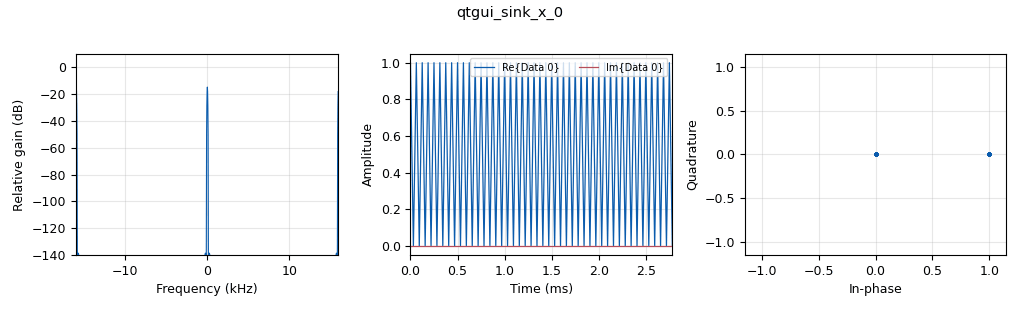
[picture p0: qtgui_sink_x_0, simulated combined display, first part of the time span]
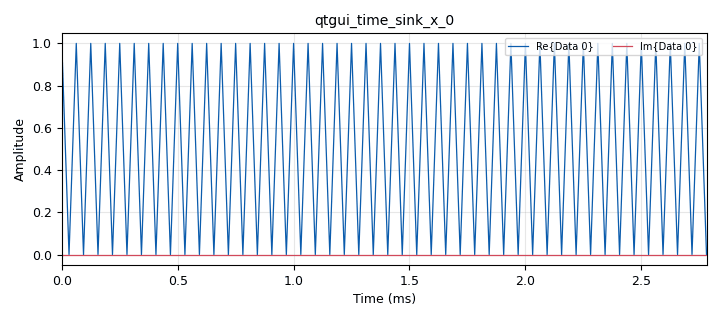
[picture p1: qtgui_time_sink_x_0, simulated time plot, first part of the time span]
<?xml version='1.0' encoding='utf-8'?>
<?grc format='1' created='3.7.13'?>
<flow_graph>
<block>
<key>options</key>
<param><key>id</key><value>top_block</value></param>
<param><key>generate_options</key><value>qt_gui</value></param>
</block>
<block>
<key>variable</key>
<param><key>id</key><value>samp_rate</value></param>
<param><key>value</key><value>32e3</value></param>
</block>
<block>
<key>blocks_complex_to_interleaved_char</key>
<param><key>id</key><value>blocks_complex_to_interleaved_char_0</value></param>
<param><key>vector_output</key><value>False</value></param>
</block>
<block>
<key>blocks_interleaved_char_to_complex</key>
<param><key>id</key><value>blocks_interleaved_char_to_complex_0</value></param>
<param><key>vector_input</key><value>False</value></param>
</block>
<block>
<key>blocks_multiply_const_vxx</key>
<param><key>id</key><value>blocks_multiply_const_vxx_0</value></param>
<param><key>const</key><value>-1</value></param>
<param><key>type</key><value>complex</value></param>
</block>
<block>
<key>blocks_throttle</key>
<param><key>id</key><value>blocks_throttle_0</value></param>
<param><key>samples_per_second</key><value>samp_rate</value></param>
<param><key>type</key><value>complex</value></param>
</block>
<block>
<key>blocks_vector_source_x</key>
<param><key>id</key><value>blocks_vector_source_x_0</value></param>
<param><key>type</key><value>complex</value></param>
<param><key>repeat</key><value>True</value></param>
<param><key>vector</key><value>(1,0,1,0)</value></param>
</block>
<block>
<key>digital_pn_correlator_cc</key>
<param><key>id</key><value>digital_pn_correlator_cc_0</value></param>
<param><key>degree</key><value>1</value></param>
<param><key>mask</key><value>0</value></param>
<param><key>seed</key><value>0x5A8</value></param>
</block>
<block>
<key>digital_scrambler_bb</key>
<param><key>id</key><value>digital_scrambler_bb_0</value></param>
<param><key>len</key><value>11</value></param>
<param><key>mask</key><value>0</value></param>
<param><key>seed</key><value>0x5A8</value></param>
</block>
<block>
<key>qtgui_sink_x</key>
<param><key>id</key><value>qtgui_sink_x_0</value></param>
<param><key>bw</key><value>samp_rate</value></param>
<param><key>fc</key><value>0</value></param>
<param><key>freqchangevar</key><value>None</value></param>
<param><key>fftsize</key><value>1024</value></param>
<param><key>showports</key><value>True</value></param>
<param><key>type</key><value>complex</value></param>
<param><key>wintype</key><value>firdes.WIN_BLACKMAN_hARRIS</value></param>
</block>
<block>
<key>qtgui_time_sink_x</key>
<param><key>id</key><value>qtgui_time_sink_x_0</value></param>
<param><key>autoscale</key><value>True</value></param>
<param><key>color1</key><value>"blue"</value></param>
<param><key>label1</key><value></value></param>
<param><key>color2</key><value>"red"</value></param>
<param><key>label2</key><value></value></param>
<param><key>size</key><value>1024</value></param>
<param><key>srate</key><value>samp_rate</value></param>
<param><key>type</key><value>complex</value></param>
</block>
<connection><source_block_id>blocks_complex_to_interleaved_char_0</source_block_id><sink_block_id>digital_scrambler_bb_0</sink_block_id><source_key>0</source_key><sink_key>0</sink_key></connection>
<connection><source_block_id>blocks_interleaved_char_to_complex_0</source_block_id><sink_block_id>digital_pn_correlator_cc_0</sink_block_id><source_key>0</source_key><sink_key>0</sink_key></connection>
<connection><source_block_id>blocks_multiply_const_vxx_0</source_block_id><sink_block_id>qtgui_time_sink_x_0</sink_block_id><source_key>0</source_key><sink_key>0</sink_key></connection>
<connection><source_block_id>blocks_throttle_0</source_block_id><sink_block_id>blocks_complex_to_interleaved_char_0</sink_block_id><source_key>0</source_key><sink_key>0</sink_key></connection>
<connection><source_block_id>blocks_vector_source_x_0</source_block_id><sink_block_id>blocks_throttle_0</sink_block_id><source_key>0</source_key><sink_key>0</sink_key></connection>
<connection><source_block_id>blocks_vector_source_x_0</source_block_id><sink_block_id>qtgui_sink_x_0</sink_block_id><source_key>0</source_key><sink_key>0</sink_key></connection>
<connection><source_block_id>digital_pn_correlator_cc_0</source_block_id><sink_block_id>blocks_multiply_const_vxx_0</sink_block_id><source_key>0</source_key><sink_key>0</sink_key></connection>
<connection><source_block_id>digital_scrambler_bb_0</source_block_id><sink_block_id>blocks_interleaved_char_to_complex_0</sink_block_id><source_key>0</source_key><sink_key>0</sink_key></connection>
</flow_graph>
